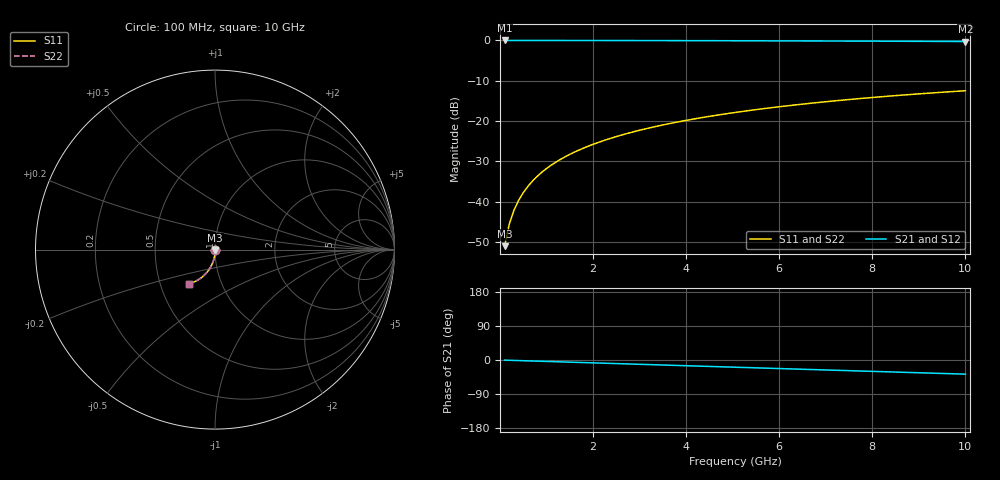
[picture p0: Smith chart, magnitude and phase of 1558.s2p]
# Hz S RI R 50.00
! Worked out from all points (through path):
!   100 points, 100 MHz to 10 GHz, reference 50 ohm
!   highest |S21| = -0.01 dB at 100 MHz (marker M1); lowest = -0.3 dB at 10 GHz (marker M2)
!   group delay of S21, straight-line fit = 10.4 ps
!   lowest |S11| = -51.0 dB at 100 MHz (marker M3), VSWR 1.01, Z = 50.1 - j0.259 ohm
!   |S11| at or under -10 dB: start of sweep to end of sweep
!   |S22| runs from -51.0 to -12.5 dB; largest |S21 - S12| = 0
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1e8  0.00111 -0.00259  0.9988 -0.00658  0.9988 -0.00658  0.00111 -0.00259
2e8  0.00106 -0.00518  0.9988 -0.0132  0.9988 -0.0132  0.00106 -0.00518
3e8  0.000978 -0.00776  0.9986 -0.0197  0.9986 -0.0197  0.000978 -0.00776
4e8  0.000859 -0.0103  0.9984 -0.0263  0.9984 -0.0263  0.000859 -0.0103
5e8  0.000705 -0.0129  0.9982 -0.0329  0.9982 -0.0329  0.000705 -0.0129
6e8  0.000517 -0.0155  0.9979 -0.0395  0.9979 -0.0395  0.000517 -0.0155
7e8  0.000294 -0.0181  0.9976 -0.0461  0.9976 -0.0461  0.000294 -0.0181
8e8  3.77e-05 -0.0207  0.9972 -0.0526  0.9972 -0.0526  3.77e-05 -0.0207
9e8  -0.000253 -0.0232  0.9968 -0.0592  0.9968 -0.0592  -0.000253 -0.0232
1.1e9  -0.000936 -0.0284  0.9958 -0.0723  0.9958 -0.0723  -0.000936 -0.0284
1.4e9  -0.00221 -0.036  0.9939 -0.092  0.9939 -0.092  -0.00221 -0.036
1.8e9  -0.00439 -0.0462  0.9906 -0.1181  0.9906 -0.1181  -0.00439 -0.0462
2.1e9  -0.00637 -0.0537  0.9877 -0.1376  0.9877 -0.1376  -0.00637 -0.0537
2.5e9  -0.00946 -0.0636  0.9831 -0.1634  0.9831 -0.1634  -0.00946 -0.0636
2.9e9  -0.0131 -0.0733  0.9778 -0.1891  0.9778 -0.1891  -0.0131 -0.0733
3.4e9  -0.0183 -0.0851  0.97 -0.2209  0.97 -0.2209  -0.0183 -0.0851
4.2e9  -0.0282 -0.1032  0.9551 -0.271  0.9551 -0.271  -0.0282 -0.1032
5.1e9  -0.0415 -0.1222  0.935 -0.3259  0.935 -0.3259  -0.0415 -0.1222
5.9e9  -0.0551 -0.1376  0.9142 -0.3732  0.9142 -0.3732  -0.0551 -0.1376
6.7e9  -0.0701 -0.1514  0.8908 -0.4189  0.8908 -0.4189  -0.0701 -0.1514
8.4e9  -0.1061 -0.1751  0.8334 -0.51  0.8334 -0.51  -0.1061 -0.1751
1e10  -0.1434 -0.1897  0.7711 -0.5876  0.7711 -0.5876  -0.1434 -0.1897
